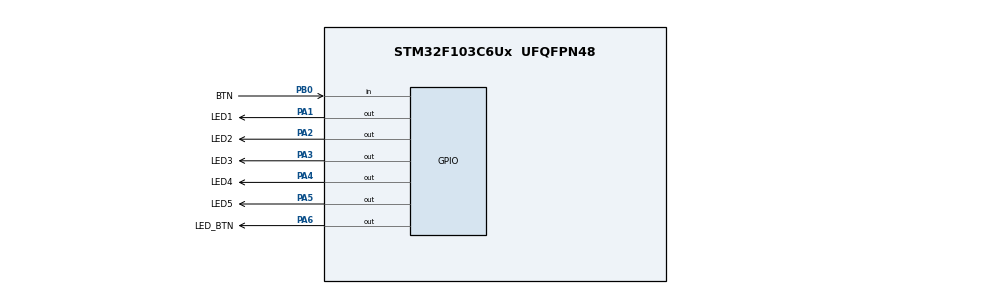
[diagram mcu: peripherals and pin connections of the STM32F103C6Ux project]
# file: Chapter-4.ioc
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Mcu.Family=STM32F1
Mcu.Name=STM32F103C6Ux
Mcu.Package=UFQFPN48
NVIC.PriorityGroup=NVIC_PRIORITYGROUP_4
NVIC.TIM2_IRQn=true\:0\:0\:false\:false\:true\:true\:true
PA1.GPIO_Label=LED1
PA1.GPIO_PuPd=GPIO_NOPULL
PA1.Signal=GPIO_Output
PA2.GPIO_Label=LED2
PA2.GPIO_PuPd=GPIO_NOPULL
PA2.Signal=GPIO_Output
PA3.GPIO_Label=LED3
PA3.GPIO_PuPd=GPIO_NOPULL
PA3.Signal=GPIO_Output
PA4.GPIO_Label=LED4
PA4.GPIO_PuPd=GPIO_NOPULL
PA4.Signal=GPIO_Output
PA5.GPIO_Label=LED5
PA5.GPIO_PuPd=GPIO_NOPULL
PA5.Signal=GPIO_Output
PA6.GPIO_Label=LED_BTN
PA6.GPIO_PuPd=GPIO_NOPULL
PA6.Signal=GPIO_Output
PB0.GPIO_Label=BTN
PB0.GPIO_Mode=GPIO_MODE_INPUT
PB0.GPIO_PuPd=GPIO_PULLUP
PB0.Signal=GPIO_Input
ProjectManager.HeapSize=0x200
ProjectManager.StackSize=0x400
ProjectManager.TargetToolchain=STM32CubeIDE
RCC.APB1Freq_Value=8000000
RCC.APB2Freq_Value=8000000
TIM2.Period=9
TIM2.Prescaler=7999
VP_IWDG_VS_IWDG.Mode=IWDG_Activate
VP_SYS_VS_ND.Mode=No_Debug
VP_TIM2_VS_ClockSourceINT.Mode=Internal
board=custom

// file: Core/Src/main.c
/* USER CODE BEGIN Header */
/**
  ******************************************************************************
  * @file           : main.c
  * @brief          : Main program body
  ******************************************************************************
  * @attention
  *
  * <h2><center>&copy; Copyright (c) 2025 STMicroelectronics.
  * All rights reserved.</center></h2>
  *
  * This software component is licensed by ST under BSD 3-Clause license,
  * the "License"; You may not use this file except in compliance with the
  * License. You may obtain a copy of the License at:
  *                        opensource.org/licenses/BSD-3-Clause
  *
  ******************************************************************************
  */
/* USER CODE END Header */
#include "main.h"
#include "scheduler.h"

IWDG_HandleTypeDef hiwdg;

TIM_HandleTypeDef htim2;

void SystemClock_Config(void);
static void MX_GPIO_Init(void);
static void MX_TIM2_Init(void);
static void MX_IWDG_Init(void);
/* USER CODE BEGIN PFP */
// 5 leds flashing period
void LED1_Toggle(void) {
	HAL_GPIO_TogglePin(LED1_GPIO_Port, LED1_Pin);
}
void LED2_Toggle(void) {
	HAL_GPIO_TogglePin(LED2_GPIO_Port, LED2_Pin); }
void LED3_Toggle(void) {
	HAL_GPIO_TogglePin(LED3_GPIO_Port, LED3_Pin);
}
void LED4_Toggle(void) {
	HAL_GPIO_TogglePin(LED4_GPIO_Port, LED4_Pin);
}
void LED5_Toggle(void) {
	HAL_GPIO_TogglePin(LED5_GPIO_Port, LED5_Pin);
}
void LED6_Toggle(void) {
	HAL_GPIO_TogglePin(LED_BTN_GPIO_Port, LED_BTN_Pin);
}

// check button press for onw-shot task
uint8_t pressed = 0;
void Check_Button(void) {
    if (HAL_GPIO_ReadPin(BTN_GPIO_Port, BTN_Pin) == GPIO_PIN_RESET && !pressed) {
        pressed = 1;
        //HAL_GPIO_WritePin(LED_BTN_GPIO_Port, LED_BTN_Pin, GPIO_PIN_SET);
        SCH_Add_Task(LED6_Toggle, 0, 0);
    }
}
/* USER CODE END PFP */

int main(void)
{

  /* MCU Configuration--------------------------------------------------------*/

  /* Reset of all peripherals, Initializes the Flash interface and the Systick. */
  HAL_Init();

  /* Configure the system clock */
  SystemClock_Config();

  /* Initialize all configured peripherals */
  MX_GPIO_Init();
  MX_TIM2_Init();
  MX_IWDG_Init();
  /* USER CODE BEGIN 2 */
  HAL_TIM_Base_Start_IT(&htim2);
  /* USER CODE END 2 */

  /* Infinite loop */
  /* USER CODE BEGIN WHILE */
  SCH_Add_Task(LED1_Toggle, 1, 50);
  SCH_Add_Task(LED2_Toggle, 3, 100);
  SCH_Add_Task(LED3_Toggle, 5, 200);
  SCH_Add_Task(LED4_Toggle, 7, 400);
  SCH_Add_Task(LED5_Toggle, 11, 800);
  SCH_Add_Task(Check_Button, 13, 5);
  while (1)
  {
	  SCH_Dispatch_Tasks() ;
    /* USER CODE END WHILE */

  }
}

void SystemClock_Config(void)
{
  RCC_OscInitTypeDef RCC_OscInitStruct = {0};
  RCC_ClkInitTypeDef RCC_ClkInitStruct = {0};

  /** Initializes the RCC Oscillators according to the specified parameters
  * in the RCC_OscInitTypeDef structure.
  */
  RCC_OscInitStruct.OscillatorType = RCC_OSCILLATORTYPE_HSI|RCC_OSCILLATORTYPE_LSI;
  RCC_OscInitStruct.HSIState = RCC_HSI_ON;
  RCC_OscInitStruct.HSICalibrationValue = RCC_HSICALIBRATION_DEFAULT;
  RCC_OscInitStruct.LSIState = RCC_LSI_ON;
  RCC_OscInitStruct.PLL.PLLState = RCC_PLL_NONE;
  if (HAL_RCC_OscConfig(&RCC_OscInitStruct) != HAL_OK)
  {
    Error_Handler();
  }
  /** Initializes the CPU, AHB and APB buses clocks
  */
  RCC_ClkInitStruct.ClockType = RCC_CLOCKTYPE_HCLK|RCC_CLOCKTYPE_SYSCLK
                              |RCC_CLOCKTYPE_PCLK1|RCC_CLOCKTYPE_PCLK2;
  RCC_ClkInitStruct.SYSCLKSource = RCC_SYSCLKSOURCE_HSI;
  RCC_ClkInitStruct.AHBCLKDivider = RCC_SYSCLK_DIV1;
  RCC_ClkInitStruct.APB1CLKDivider = RCC_HCLK_DIV1;
  RCC_ClkInitStruct.APB2CLKDivider = RCC_HCLK_DIV1;

  if (HAL_RCC_ClockConfig(&RCC_ClkInitStruct, FLASH_LATENCY_0) != HAL_OK)
  {
    Error_Handler();
  }
}

static void MX_IWDG_Init(void)
{

  hiwdg.Instance = IWDG;
  hiwdg.Init.Prescaler = IWDG_PRESCALER_4;
  hiwdg.Init.Reload = 4095;
  if (HAL_IWDG_Init(&hiwdg) != HAL_OK)
  {
    Error_Handler();
  }

}

static void MX_TIM2_Init(void)
{

  TIM_ClockConfigTypeDef sClockSourceConfig = {0};
  TIM_MasterConfigTypeDef sMasterConfig = {0};

  htim2.Instance = TIM2;
  htim2.Init.Prescaler = 7999;
  htim2.Init.CounterMode = TIM_COUNTERMODE_UP;
  htim2.Init.Period = 9;
  htim2.Init.ClockDivision = TIM_CLOCKDIVISION_DIV1;
  htim2.Init.AutoReloadPreload = TIM_AUTORELOAD_PRELOAD_DISABLE;
  if (HAL_TIM_Base_Init(&htim2) != HAL_OK)
  {
    Error_Handler();
  }
  sClockSourceConfig.ClockSource = TIM_CLOCKSOURCE_INTERNAL;
  if (HAL_TIM_ConfigClockSource(&htim2, &sClockSourceConfig) != HAL_OK)
  {
    Error_Handler();
  }
  sMasterConfig.MasterOutputTrigger = TIM_TRGO_RESET;
  sMasterConfig.MasterSlaveMode = TIM_MASTERSLAVEMODE_DISABLE;
  if (HAL_TIMEx_MasterConfigSynchronization(&htim2, &sMasterConfig) != HAL_OK)
  {
    Error_Handler();
  }

}

static void MX_GPIO_Init(void)
{
  GPIO_InitTypeDef GPIO_InitStruct = {0};

  /* GPIO Ports Clock Enable */
  __HAL_RCC_GPIOA_CLK_ENABLE();
  __HAL_RCC_GPIOB_CLK_ENABLE();

  /*Configure GPIO pin Output Level */
  HAL_GPIO_WritePin(GPIOA, LED1_Pin|LED2_Pin|LED3_Pin|LED4_Pin
                          |LED5_Pin|LED_BTN_Pin, GPIO_PIN_RESET);

  /*Configure GPIO pins : LED1_Pin LED2_Pin LED3_Pin LED4_Pin
                           LED5_Pin LED_BTN_Pin */
  GPIO_InitStruct.Pin = LED1_Pin|LED2_Pin|LED3_Pin|LED4_Pin
                          |LED5_Pin|LED_BTN_Pin;
  GPIO_InitStruct.Mode = GPIO_MODE_OUTPUT_PP;
  GPIO_InitStruct.Pull = GPIO_NOPULL;
  GPIO_InitStruct.Speed = GPIO_SPEED_FREQ_LOW;
  HAL_GPIO_Init(GPIOA, &GPIO_InitStruct);

  /*Configure GPIO pin : BTN_Pin */
  GPIO_InitStruct.Pin = BTN_Pin;
  GPIO_InitStruct.Mode = GPIO_MODE_INPUT;
  GPIO_InitStruct.Pull = GPIO_PULLUP;
  HAL_GPIO_Init(BTN_GPIO_Port, &GPIO_InitStruct);

}

/* USER CODE BEGIN 4 */
void HAL_TIM_PeriodElapsedCallback(TIM_HandleTypeDef *htim) {
	SCH_Update();
}
/* USER CODE END 4 */

void Error_Handler(void)
{
  __disable_irq();
  while (1)
  {
  }
}

/************************ (C) COPYRIGHT STMicroelectronics *****END OF FILE****/
